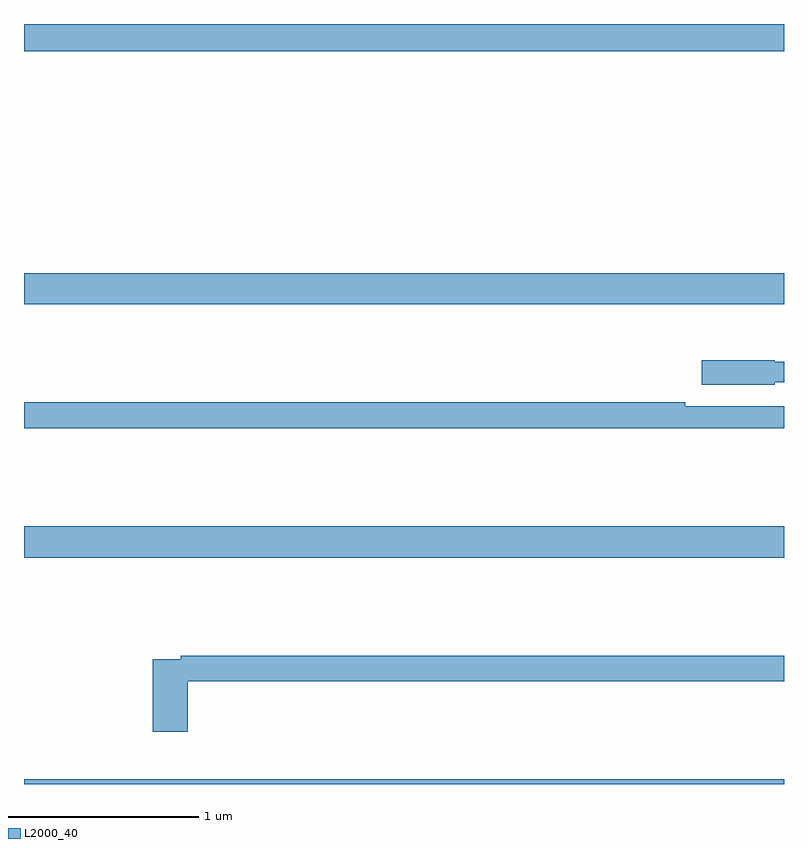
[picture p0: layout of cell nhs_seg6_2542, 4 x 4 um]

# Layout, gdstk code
import gdstk
lib = gdstk.Library(unit=1e-6, precision=1e-09)
def R(c, l, rs):  # rectangles x0, y0, x1, y1
    for r in rs: c.add(gdstk.rectangle(r[:2], r[2:], *l))
def P(c, l, *ps):  # polygons
    for p in ps: c.add(gdstk.Polygon(p, *l))
L2000_40 = (2000, 40)

nhs_seg6_2542 = lib.new_cell('nhs_seg6_2542')
R(nhs_seg6_2542, L2000_40, [(263,923.5,267,923.524), (263,924.692,267,924.856), (263,926.024,267,926.188), (263,927.356,267,927.5)])
P(nhs_seg6_2542, L2000_40, [(266.952,925.614),(267,925.614),(267,925.723),(266.952,925.723),(266.952,925.731),(266.568,925.731),(266.568,925.601),(266.952,925.601)],
  [(267,925.488),(266.48,925.488),(266.48,925.508),(263,925.508),(263,925.372),(267,925.372)],
  [(263.861,924.04),(267,924.04),(267,924.176),(263.824,924.176),(263.824,924.156),(263.678,924.156),(263.678,923.775),(263.861,923.775)])

lib.write_gds('nhs_seg6_2542.gds')
